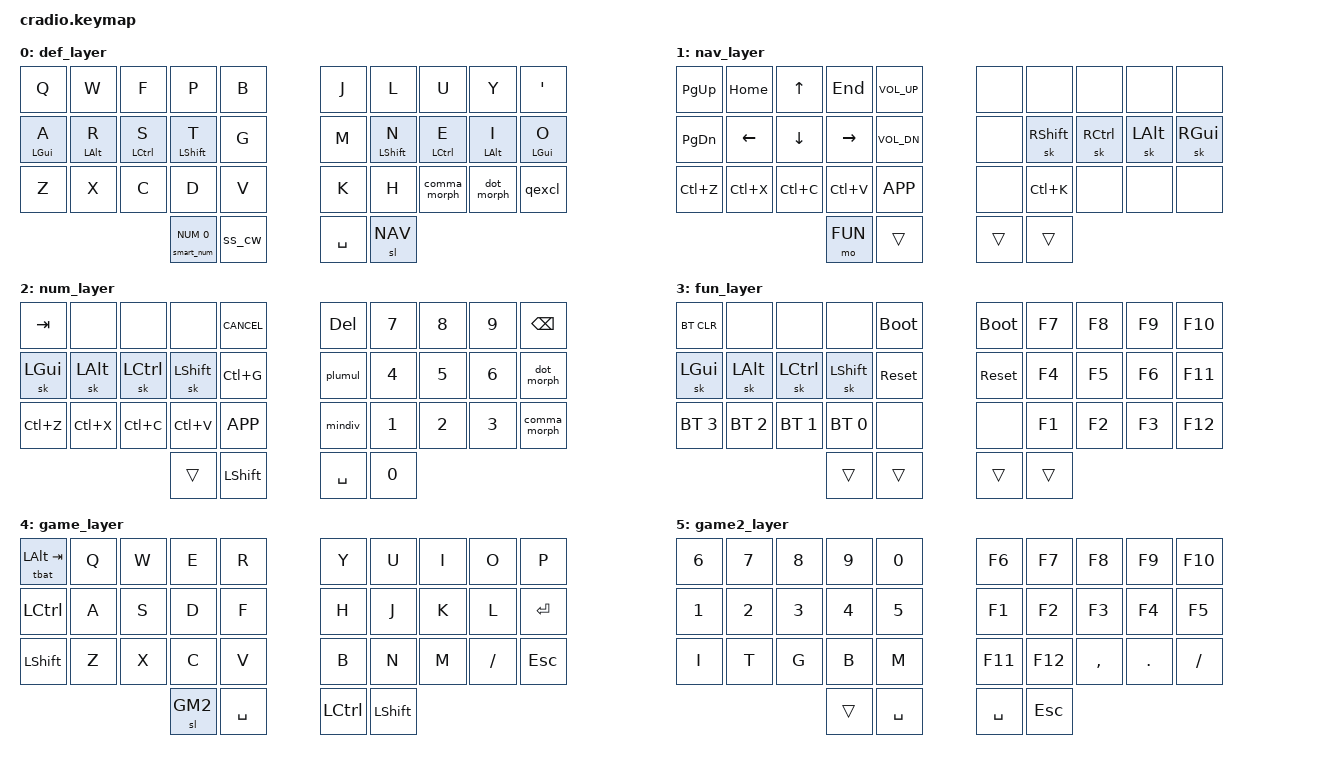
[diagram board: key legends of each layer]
/*
 * Copyright (c) 2020 The ZMK Contributors
 *
 * SPDX-License-Identifier: MIT
 */

#include <behaviors.dtsi>
#include <dt-bindings/zmk/keys.h>
#include <dt-bindings/zmk/bt.h>

#include "../zmk-nodefree-config/helper.h"
#include "../zmk-nodefree-config/keypos_def/keypos_34keys.h"



/* key assignments
  0  1  2  3  4       5  6  7  8  9
  10 11 12 13 14      15 16 17 18 19
  20 21 22 23 24      25 26 27 28 29
            30 31     32 33
*/

#define DEF 0
#define NAV 1
#define NUM 2
#define FUN 3
#define GM1 4
#define GM2 5

#include "combos.dtsi"  // requires layer aliases
/* Global settings */

#define QUICK_TAP_MS 175

&sk {  // sticky-key config
    release-after-ms = <900>;  // release after 0.6s
    quick-release;             // no double capitalization when rolling keys
};

&sl {  // sticky-layer config
    ignore-modifiers;          // allow chording sticky mods & layers
};

/* Homerow mods */

#define KEYS_L LT0 LT1 LT2 LT3 LT4 LM0 LM1 LM2 LM3 LM4 LB0 LB1 LB2 LB3 LB4  // left hand
#define KEYS_R RT0 RT1 RT2 RT3 RT4 RM0 RM1 RM2 RM3 RM4 RB0 RB1 RB2 RB3 RB4  // right hand
#define THUMBS LH1 LH0 RH0 RH1                                       // thumbs

#define MAKE_HRM(NAME, HOLD, TAP, TRIGGER_POS) \
    ZMK_BEHAVIOR(NAME, hold_tap, \
        flavor = "balanced"; \
        tapping-term-ms = <280>; \
        quick-tap-ms = <QUICK_TAP_MS>; \
        require-prior-idle-ms = <150>; \
        bindings = <HOLD>, <TAP>; \
        hold-trigger-key-positions = <TRIGGER_POS>; \
        hold-trigger-on-release; \
    )
MAKE_HRM(hml, &kp, &kp, KEYS_R THUMBS)  // left-hand HRMs
MAKE_HRM(hmr, &kp, &kp, KEYS_L THUMBS)  // right-hand HRMs



// tap: sticky shift | double tap: capsword
ZMK_BEHAVIOR(ss_cw, tap_dance,
    tapping-term-ms = <200>;
    bindings = <&sk LSHFT>, <&caps_word>;
)

// tap: comma | shift + tap: semicolon | ctrl + shift + tap: <
ZMK_BEHAVIOR(comma_morph, mod_morph,
    mods = <(MOD_LSFT|MOD_RSFT)>;
    bindings = <&kp COMMA>, <&comma_inner_morph>;
)
ZMK_BEHAVIOR(comma_inner_morph, mod_morph,
    bindings = <&kp SEMICOLON>, <&kp LESS_THAN>;
    mods = <(MOD_LCTL|MOD_RCTL)>;
)

// tap: dot | shift + tap: colon | ctrl + shift + tap: >
ZMK_BEHAVIOR(dot_morph, mod_morph,
    bindings = <&kp DOT>, <&dot_inner_morph>;
    mods = <(MOD_LSFT|MOD_RSFT)>;
)
ZMK_BEHAVIOR(dot_inner_morph, mod_morph,
    bindings = <&kp COLON>, <&kp GREATER_THAN>;
    mods = <(MOD_LCTL|MOD_RCTL)>;
)
 
// tap: qmark | shift + tap: excl
ZMK_BEHAVIOR(qexcl, mod_morph,
    bindings = <&kp QMARK>, <&kp EXCL>;
    mods = <(MOD_LSFT|MOD_RSFT)>;
)
// tap: minus | shift + tap: forward slash 
ZMK_BEHAVIOR(mindiv, mod_morph,
    bindings = <&kp MINUS>, <&kp FSLH>;
    mods = <(MOD_LSFT|MOD_RSFT)>;
)

// tap: plus | shift + tap: asterix 
ZMK_BEHAVIOR(plumul, mod_morph,
    bindings = <&kp PLUS>, <&kp STAR>;
    mods = <(MOD_LSFT|MOD_RSFT)>;
)
// tap: num-word | double-tap: sticky num-layer | hold: num-layer
#define SMART_NUM &smart_num NUM 0
ZMK_BEHAVIOR(smart_num, hold_tap,
    flavor = "balanced";
    tapping-term-ms = <200>;
    quick-tap-ms = <QUICK_TAP_MS>;
    bindings = <&mo>, <&num_dance>;
)
ZMK_BEHAVIOR(num_dance, tap_dance,
    tapping-term-ms = <200>;
    bindings = <&num_word>, <&sl NUM>;  // reverse this for sticky-num on single tap
)
&num_word {  // num-word, requires PR #1451
    layers = <NUM>;
    continue-list = <BSPC DEL DOT COMMA PLUS MINUS STAR FSLH EQUAL TAB>;
};

ZMK_BEHAVIOR(tbat, hold_tap,
	flavor= "tap-preferred";
	tapping-term-ms = <200>;
	quick-tap-ms = <QUICK_TAP_MS>;
	bindings = <&kp>, <&kp>;
	)


#define CANCEL      &kp K_CANCEL             // cancel caps-word, num-word and smart-mouse

/{
        keymap {
                compatible = "zmk,keymap";
                
       		def_layer {
		bindings = <
		&kp Q 		&kp W 		&kp F 		 &kp P 		  &kp B 			&kp J &kp L        &kp U 		&kp Y 		&kp APOS 
		&hml LGUI A &hml LALT R &hml LCTRL S &hml LSHFT T &kp G				&kp M &hmr LSHFT N &hmr LCTRL E &hmr LALT I &hmr LGUI O
		&kp Z 		&kp X 		&kp C 		 &kp D 		  &kp V				&kp K &kp H 	   &comma_morph &dot_morph 	&qexcl 
          											SMART_NUM &ss_cw     &kp SPACE &sl NAV
		>;
		};

       		nav_layer {
		bindings = <
        &kp PG_UP   &kp HOME  &kp UP    &kp END    &kp C_VOL_UP       &none &none &none &none &none
        &kp PG_DN   &kp LEFT  &kp DOWN  &kp RIGHT  &kp C_VOL_DN       &none &sk RSHFT  &sk RCTRL  &sk LALT  &sk RGUI 
        &kp LC(Z)   &kp LC(X) &kp LC(C) &kp LC(V)  &kp K_APP          &none &kp LC(K) &none &none &none
                                            &mo FUN &trans        &trans &trans
        >;
		};
		
		    num_layer {
		bindings = <
		&kp TAB   &none  	&none	   &none       CANCEL  	            		&kp DEL  &kp N7 &kp N8 &kp N9 &kp BSPC 
		&sk LGUI  &sk LALT  &sk LCTRL  &sk LSHFT   &kp LC(G) 					&plumul  &kp N4 &kp N5 &kp N6 &dot_morph 
		&kp LC(Z) &kp LC(X) &kp LC(C)  &kp LC(V)   &kp K_APP  		       		&mindiv  &kp N1 &kp N2 &kp N3 &comma_morph
					                        &trans &kp LSHIFT           &kp SPACE  &kp N0
		>;
		};	

            fun_layer {
		bindings = <
		&bt BT_CLR   &none        &none        &none        &bootloader     &bootloader  &kp F7  &kp F8  &kp F9 &kp F10
		&sk LGUI     &sk LALT     &sk LCTRL    &sk LSHFT    &sys_reset      &sys_reset   &kp F4  &kp F5  &kp F6 &kp F11
		&bt BT_SEL 3 &bt BT_SEL 2 &bt BT_SEL 1 &bt BT_SEL 0 &none      		&none 		 &kp F1  &kp F2  &kp F3 &kp F12  
					                    			&trans &trans       	 &trans &trans
		>;
		};
    
            game_layer {
		bindings = <
		&tbat LALT TAB &kp Q  &kp W  &kp E  &kp R 					&kp Y &kp U &kp I &kp O &kp P 
		&kp LCTRL &kp A  &kp S  &kp D  &kp F 			        	&kp H &kp J &kp K &kp L &kp RET
		&kp LSHFT &kp Z  &kp X  &kp C  &kp V				        &kp B &kp N &kp M &kp SLASH &kp ESC
          				&sl GM2 &kp SPACE                   &kp LCTRL &kp LSHIFT
		>;
		};

            game2_layer {
		bindings = <
		&kp N6    &kp N7 &kp N8 &kp N9 &kp N0						&kp F6 &kp F7 &kp F8 &kp F9 &kp F10 
		&kp N1    &kp N2 &kp N3 &kp N4 &kp N5			        	&kp F1 &kp F2 &kp F3 &kp F4 &kp F5
		&kp I  	  &kp T  &kp G  &kp B  &kp M 				        &kp F11 &kp F12 &kp COMMA &kp DOT &kp SLASH
          				&trans &kp SPACE                        &kp SPC &kp ESC
		>;
		};
	};
};
